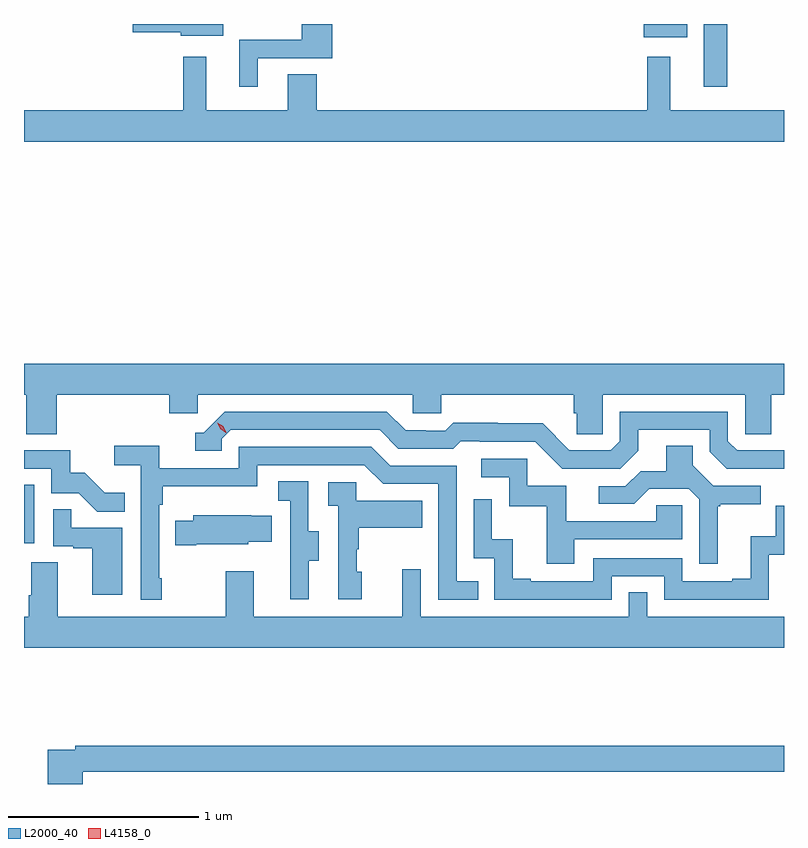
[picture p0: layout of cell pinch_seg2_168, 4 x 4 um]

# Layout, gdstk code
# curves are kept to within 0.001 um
import gdstk
lib = gdstk.Library(unit=1e-6, precision=1e-09)
def R(c, l, rs):  # rectangles x0, y0, x1, y1
    for r in rs: c.add(gdstk.rectangle(r[:2], r[2:], *l))
def P(c, l, *ps):  # polygons
    for p in ps: c.add(gdstk.Polygon(p, *l))
L2000_40 = (2000, 40)
L4158_0 = (4158, 0)

pinch_seg2_168 = lib.new_cell('pinch_seg2_168')
R(pinch_seg2_168, L2000_40, [(1089.615,633.534,1089.67,633.841), (1093.193,635.937,1093.315,636.267), (1092.878,636.197,1093.105,636.267)])
P(pinch_seg2_168, L2000_40, [(1090.846,636.087),(1091.237,636.087),(1091.237,636.267),(1091.078,636.267),(1091.078,636.183),(1090.748,636.183),(1090.748,635.937),(1090.846,635.937)],
  [(1090.663,636.267),(1090.188,636.267),(1090.188,636.223),(1090.44,636.223),(1090.44,636.206),(1090.663,636.206)],
  [(1093.615,635.812),(1093.015,635.812),(1093.015,636.094),(1092.894,636.094),(1092.894,635.812),(1091.156,635.812),(1091.156,636.002),(1091.003,636.002),(1091.003,635.812),(1090.573,635.812),(1090.573,636.094),(1090.452,636.094),(1090.452,635.812),(1089.615,635.812),(1089.615,635.648),(1093.615,635.648)],
  [(1089.788,634.316),(1090.379,634.316),(1090.379,634.218),(1090.53,634.218),(1090.53,634.316),(1091.661,634.316),(1091.661,634.218),(1091.811,634.218),(1091.811,634.316),(1092.509,634.316),(1092.509,634.218),(1092.523,634.218),(1092.523,634.108),(1092.66,634.108),(1092.66,634.316),(1093.41,634.316),(1093.41,634.108),(1093.549,634.108),(1093.549,634.316),(1093.615,634.316),(1093.615,634.48),(1089.615,634.48),(1089.615,634.316),(1089.628,634.316),(1089.628,634.108),(1089.788,634.108)],
  [(1093.615,634.023),(1093.368,634.023),(1093.32,634.071),(1093.32,634.227),(1092.75,634.227),(1092.75,634.071),(1092.702,634.023),(1092.486,634.023),(1092.344,634.165),(1092.108,634.165),(1092.108,634.168),(1091.875,634.168),(1091.833,634.125),(1091.73,634.125),(1091.73,634.128),(1091.623,634.128),(1091.524,634.227),(1090.671,634.227),(1090.56,634.116),(1090.517,634.116),(1090.517,634.02),(1090.656,634.02),(1090.656,634.083),(1090.704,634.131),(1091.487,634.131),(1091.586,634.032),(1091.875,634.032),(1091.914,634.071),(1092.013,634.071),(1092.013,634.068),(1092.306,634.068),(1092.447,633.927),(1092.753,633.927),(1092.847,634.021),(1092.847,634.131),(1093.224,634.131),(1093.224,634.017),(1093.314,633.927),(1093.615,633.926)],
  [(1093.267,633.729),(1093.279,633.729),(1093.279,633.74),(1093.492,633.74),(1093.492,633.837),(1093.242,633.837),(1093.135,633.944),(1093.135,634.046),(1092.995,634.046),(1092.995,633.914),(1092.86,633.914),(1092.78,633.834),(1092.639,633.834),(1092.639,633.741),(1092.826,633.741),(1092.907,633.822),(1093.113,633.822),(1093.17,633.765),(1093.17,633.426),(1093.267,633.426)],
  [(1090.339,633.349),(1090.326,633.349),(1090.326,633.737),(1090.346,633.737),(1090.346,633.833),(1090.842,633.833),(1090.842,633.945),(1091.406,633.945),(1091.505,633.846),(1091.796,633.846),(1091.796,633.237),(1092.005,633.237),(1092.005,633.333),(1091.892,633.333),(1091.892,633.942),(1091.542,633.942),(1091.443,634.041),(1090.746,634.041),(1090.746,633.93),(1090.328,633.93),(1090.328,634.046),(1090.089,634.046),(1090.089,633.944),(1090.23,633.944),(1090.23,633.237),(1090.339,633.237)],
  [(1090.145,633.799),(1090.041,633.799),(1089.934,633.906),(1089.858,633.906),(1089.858,634.023),(1089.615,634.023),(1089.615,633.927),(1089.759,633.927),(1089.759,633.798),(1089.903,633.798),(1090.001,633.7),(1090.145,633.7)],
  [(1092.511,633.555),(1093.08,633.555),(1093.08,633.735),(1092.943,633.735),(1092.943,633.651),(1092.469,633.651),(1092.469,633.837),(1092.264,633.837),(1092.264,633.978),(1092.021,633.978),(1092.021,633.882),(1092.168,633.882),(1092.168,633.729),(1092.367,633.729),(1092.367,633.426),(1092.511,633.426)],
  [(1091.113,633.442),(1091.167,633.442),(1091.167,633.597),(1091.112,633.597),(1091.112,633.86),(1090.953,633.86),(1090.953,633.757),(1091.016,633.757),(1091.016,633.453),(1091.015,633.453),(1091.015,633.24),(1091.113,633.24)],
  [(1091.392,633.384),(1091.367,633.384),(1091.367,633.503),(1091.377,633.503),(1091.377,633.617),(1091.711,633.617),(1091.711,633.757),(1091.364,633.757),(1091.364,633.855),(1091.217,633.855),(1091.217,633.731),(1091.268,633.731),(1091.268,633.24),(1091.392,633.24)],
  [(1092.708,633.36),(1092.984,633.36),(1092.984,633.237),(1093.536,633.237),(1093.536,633.473),(1093.615,633.473),(1093.615,633.732),(1093.572,633.732),(1093.572,633.571),(1093.439,633.571),(1093.439,633.346),(1093.343,633.346),(1093.343,633.333),(1093.08,633.333),(1093.08,633.456),(1092.612,633.456),(1092.612,633.333),(1092.283,633.333),(1092.283,633.346),(1092.188,633.346),(1092.188,633.554),(1092.078,633.554),(1092.078,633.766),(1091.982,633.766),(1091.982,633.456),(1092.09,633.456),(1092.09,633.237),(1092.708,633.237)],
  [(1090.132,633.615),(1089.863,633.615),(1089.863,633.713),(1089.768,633.713),(1089.768,633.519),(1089.875,633.519),(1089.875,633.507),(1089.974,633.507),(1089.974,633.264),(1090.132,633.264)],
  [(1090.522,633.53),(1090.794,633.53),(1090.794,633.542),(1090.919,633.542),(1090.919,633.679),(1090.811,633.679),(1090.811,633.682),(1090.505,633.682),(1090.505,633.652),(1090.411,633.652),(1090.411,633.523),(1090.522,633.523)],
  [(1093.615,633.148),(1092.894,633.148),(1092.894,633.275),(1092.798,633.275),(1092.798,633.148),(1091.703,633.148),(1091.703,633.397),(1091.606,633.397),(1091.606,633.148),(1090.825,633.148),(1090.825,633.388),(1090.678,633.388),(1090.678,633.148),(1089.793,633.148),(1089.793,633.434),(1089.653,633.434),(1089.653,633.26),(1089.641,633.26),(1089.641,633.148),(1089.615,633.148),(1089.615,632.984),(1093.615,632.984)],
  [(1089.923,632.332),(1093.615,632.332),(1093.615,632.468),(1089.886,632.468),(1089.886,632.448),(1089.74,632.448),(1089.74,632.267),(1089.923,632.267)])
P(pinch_seg2_168, L4158_0, [(1090.678,634.116),(1090.648,634.136),(1090.633,634.168),(1090.633,634.169),(1090.633,634.169),(1090.663,634.149),(1090.679,634.116),(1090.679,634.116)])

lib.write_gds('pinch_seg2_168.gds')
